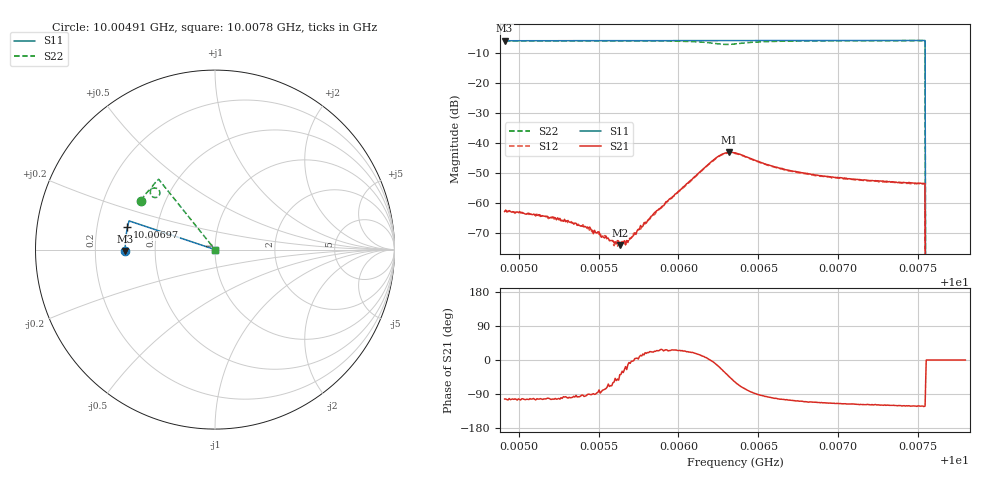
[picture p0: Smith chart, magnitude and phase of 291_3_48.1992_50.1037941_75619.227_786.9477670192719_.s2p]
#  HZ  S  RI  R  50.00
! Rohde & Schwarz Vector Network Analyzer
! Rohde-Schwarz,ZNB20-2Port,1311601062101988,3.16
! Created: UTC 3/20/2024, 11:49:05 AM
! freq[Hz]  re:S11  im:S11  re:S21  im:S21  re:S12  im:S12  re:S22  im:S22
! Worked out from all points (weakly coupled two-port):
!   401 points, 10.00491 GHz to 10.0078 GHz, reference 50 ohm
!   highest |S21| = -43.11 dB at 10.00632 GHz (marker M1); lowest = -73.9 dB at 10.00563 GHz (marker M2)
!   lowest |S11| = -6.0 dB at 10.00491 GHz (marker M3), VSWR 2.99, Z = 16.7 - j0.341 ohm
!   |S11| at or under -10 dB: 10.00754 GHz to end of sweep
!   |S22| runs from - to -6.0 dB; largest |S21 - S12| = 0.00041
!   S11 on the Smith chart (normalised r, x): 10.00491 GHz: 0.33, -0.01; 10.00697 GHz: 0.33, +0.11; 10.0078 GHz: 1.00, +0.00
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1.0004912e10  -0.4993 -0.00767  -0.000163 -0.000708  -0.000168 -0.000725  -0.4123 0.2728
1.0005006e10  -0.4997 -0.00167  -0.000175 -0.000704  -0.000119 -0.000698  -0.4088 0.2784
1.0005215e10  -0.4999 0.012  -0.000131 -0.000575  -9.69e-05 -0.000568  -0.4009 0.2907
1.0005395e10  -0.4998 0.0237  -1.87e-05 -0.00042  -3.1e-05 -0.000419  -0.3934 0.3015
1.0005431e10  -0.4999 0.026  -4.32e-06 -0.000402  -1.04e-05 -0.00038  -0.3917 0.3036
1.0005489e10  -0.4996 0.0297  1.66e-05 -0.000319  7.37e-05 -0.000307  -0.389 0.3073
1.0005532e10  -0.4996 0.0326  5.28e-05 -0.000264  4.62e-05 -0.000278  -0.387 0.3099
1.0005604e10  -0.4995 0.0372  0.000152 -0.000172  0.000137 -0.00017  -0.3834 0.3144
1.0005633e10  -0.4992 0.0391  0.000157 -0.000126  0.000149 -0.00014  -0.3818 0.3161
1.0005684e10  -0.4992 0.0424  0.000217 -4.86e-05  0.000228 -5.3e-05  -0.3791 0.3193
1.0005878e10  -0.4983 0.0548  0.000732 0.000337  0.000689 0.000369  -0.3658 0.3317
1.0006224e10  -0.4955 0.077  0.00535 -0.000667  0.00526 -0.000459  -0.3104 0.3286
1.0006275e10  -0.495 0.0802  0.00588 -0.00289  0.00589 -0.00256  -0.3082 0.309
1.0006318e10  -0.4948 0.0828  0.00501 -0.00488  0.00511 -0.00451  -0.319 0.2941
1.0006354e10  -0.4944 0.0849  0.00365 -0.00583  0.00382 -0.00553  -0.3328 0.29
1.0006614e10  -0.4924 0.1016  -0.000779 -0.00388  -0.000595 -0.00384  -0.3593 0.3309
1.0006837e10  -0.4898 0.1156  -0.00107 -0.00279  -0.000961 -0.00281  -0.3494 0.3518
1.0006974e10  -0.488 0.1243  -0.0011 -0.00245  -0.000971 -0.00246  -0.3427 0.3613
1.000732e10  -0.4826 0.1459  -0.00113 -0.00199  -0.00102 -0.00198  -0.3252 0.3808
1.0007529e10  -0.479 0.1589  -0.00112 -0.00182  -0.000999 -0.00183  -0.3147 0.3911
1.0007565e10  0 0  0 0  0 0  0 0
1.0007796e10  0 0  0 0  0 0  0 0
